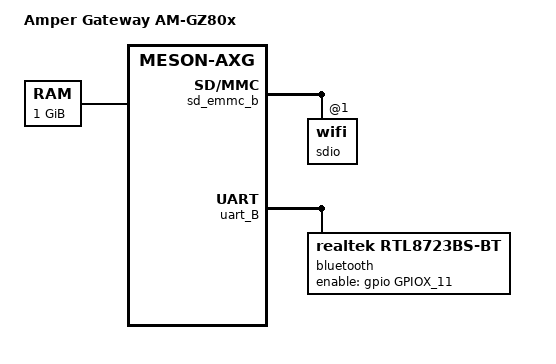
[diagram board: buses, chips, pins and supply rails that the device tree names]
// SPDX-License-Identifier: (GPL-2.0+ OR MIT)
/*
 * Copyright (c) 2025 Patrick Yavitz <pyavitz@armbian.com>
 */

/dts-v1/;

#include "meson-axg-amper-gateway-gz80x.dtsi"

/ {
	compatible = "amper,gateway-am-gz80x", "amlogic,a113x", "amlogic,meson-axg";
	model = "Amper Gateway AM-GZ80x";

	/* 1024MB RAM */
	memory@0 {
		device_type = "memory";
		reg = <0x0 0x0 0x0 0x40000000>;
	};
};

&sd_emmc_b {
	sdio: wifi@1 {
		reg = <1>;
	};
};

&spicc1 {
	status = "disabled";
};

/* Bluetooth */
&uart_B {
	status = "okay";
	pinctrl-0 = <&uart_b_x_pins>, <&uart_b_x_cts_rts_pins>;
	pinctrl-names = "default";
	uart-has-rtscts;

	bluetooth {
		compatible = "realtek,rtl8723bs-bt";
		enable-gpios = <&gpio GPIOX_11 GPIO_ACTIVE_HIGH>;
	};
};
